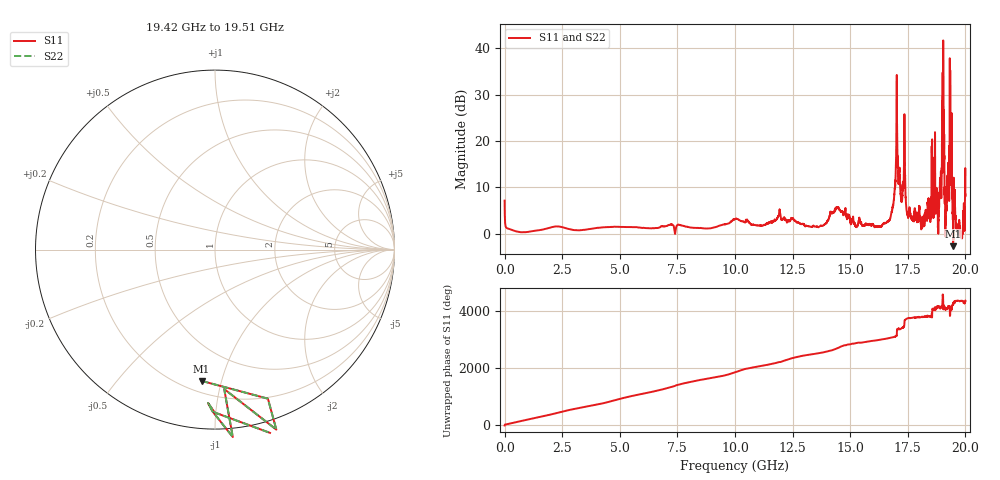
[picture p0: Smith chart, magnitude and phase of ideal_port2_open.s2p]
! Created with skrf (http://scikit-rf.org).
# GHz S RI R 50.0
!freq ReS11 ImS11 ReS21 ImS21 ReS12 ImS12 ReS22 ImS22
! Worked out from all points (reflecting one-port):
!   10001 points, 1 MHz to 20 GHz, reference 50 ohm
!   lowest |S11| = -2.7 dB at 19.47 GHz (marker M1), VSWR 6.56, Z = 13.6 - j43.3 ohm
!   phase of S11 starts at -18 deg and turns +4377 deg over the sweep
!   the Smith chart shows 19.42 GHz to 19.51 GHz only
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0.001  2.159 -0.7214  0 0  0 0  2.159 -0.7214
0.8969552  -1.021 0.1975  0 0  0 0  -1.021 0.1975
3.334833  -0.4041 -1.018  0 0  0 0  -0.4041 -1.018
6.668667  -0.7598 0.8747  0 0  0 0  -0.7598 0.8747
9.426529  0.0557 -1.241  0 0  0 0  0.0557 -1.241
10.0005  1.046 0.9861  0 0  0 0  1.046 0.9861
10.54047  -1.388 0.0549  0 0  0 0  -1.388 0.0549
13.33433  0.8874 -0.7887  0 0  0 0  0.8874 -0.7887
14.18429  -0.0749 1.698  0 0  0 0  -0.0749 1.698
14.72626  -0.1463 -1.646  0 0  0 0  -0.1463 -1.646
16.66817  -1.305 0.4332  0 0  0 0  -1.305 0.4332
16.87416  -1.979 -0.6679  0 0  0 0  -1.979 -0.6679
16.92215  -2.396 -1.505  0 0  0 0  -2.396 -1.505
17.12414  -3.258 3.383  0 0  0 0  -3.258 3.383
17.25414  -2.239 0.6367  0 0  0 0  -2.239 0.6367
17.45613  -1.052 1.383  0 0  0 0  -1.052 1.383
18.46208  -2.02 -0.4667  0 0  0 0  -2.02 -0.4667
18.63807  0.13 1.907  0 0  0 0  0.13 1.907
18.99405  -4.609 -7.866  0 0  0 0  -4.609 -7.866
19.14204  -0.0308 1.424  0 0  0 0  -0.0308 1.424
19.46603  -0.075 -0.7315  0 0  0 0  -0.075 -0.7315
20  2.088 1.648  0 0  0 0  2.088 1.648
